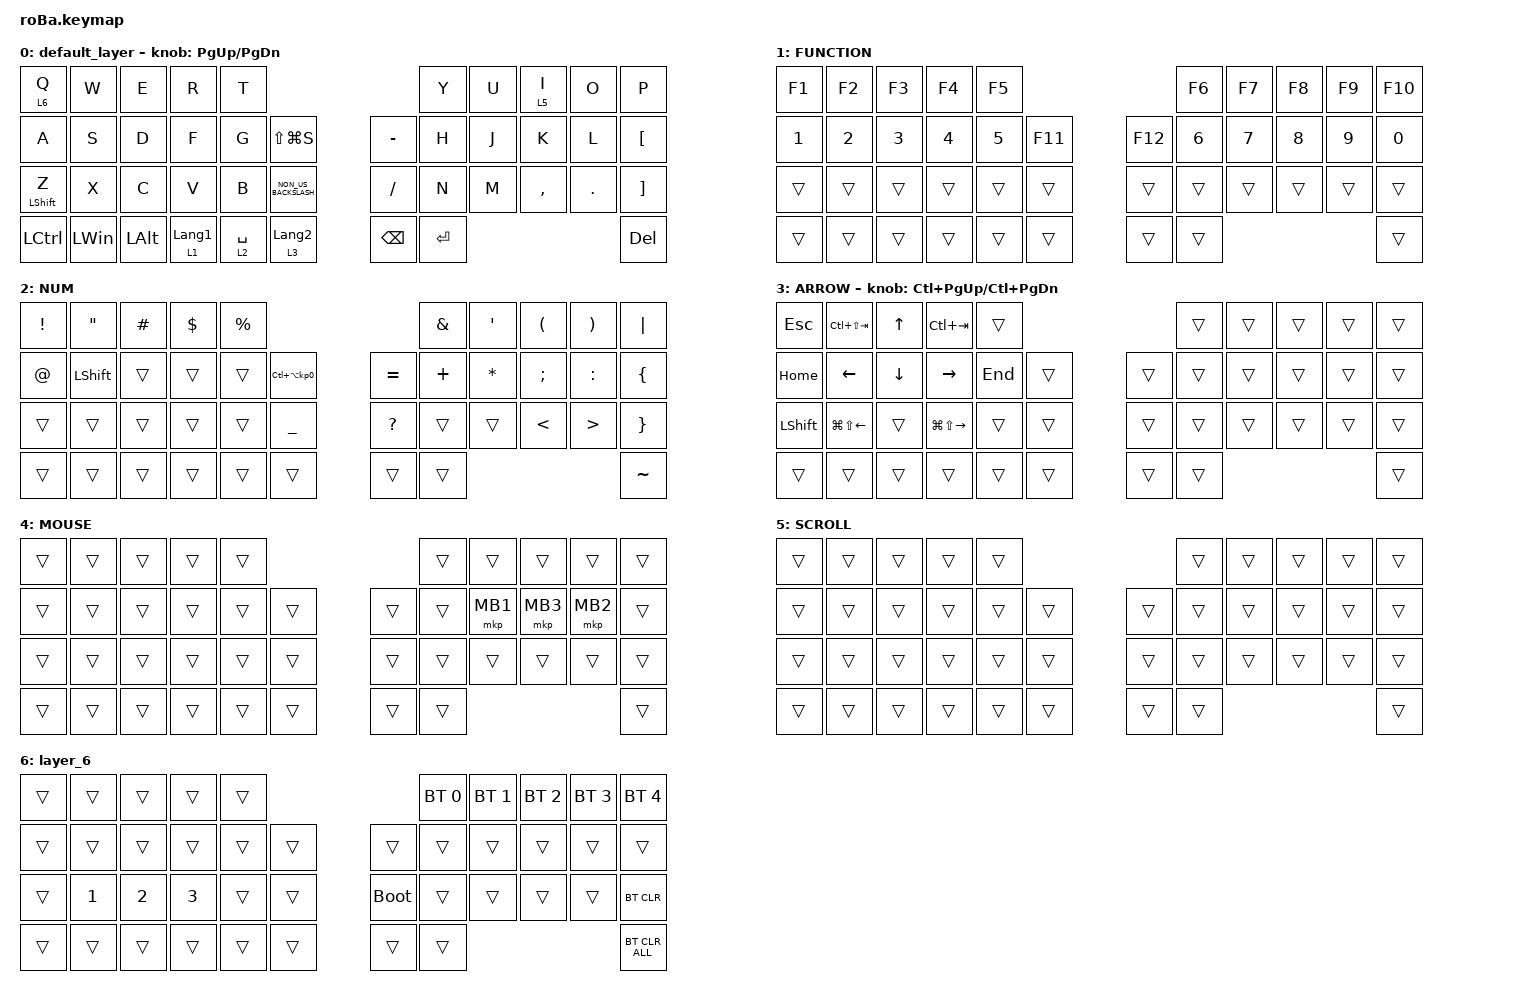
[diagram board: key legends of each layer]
#include <behaviors.dtsi>
#include <dt-bindings/zmk/bt.h>
#include <dt-bindings/zmk/keys.h>
#include <dt-bindings/zmk/pointing.h>

#define MOUSE 4
#define SCROLL 5
#define NUM 6

&mt {
    flavor = "balanced";
    quick-tap-ms = <0>;
};

/ {
    combos {
        compatible = "zmk,combos";

        tab {
            bindings = <&kp TAB>;
            key-positions = <11 12>;
        };

        shift_tab {
            bindings = <&kp LS(TAB)>;
            key-positions = <12 13>;
        };

        muhennkann {
            bindings = <&to_layer_0 INT_MUHENKAN>;
            key-positions = <11 10>;
        };

        double_quotation {
            bindings = <&kp DOUBLE_QUOTES>;
            key-positions = <20 21>;
        };

        eq {
            bindings = <&kp EQUAL>;
            key-positions = <24 25>;
        };
    };

    macros {
        to_layer_0: to_layer_0 {
            compatible = "zmk,behavior-macro-one-param";
            #binding-cells = <1>;
            bindings = <&to 0 &macro_param_1to1 &kp MACRO_PLACEHOLDER>;
            label = "TO_LAYER_0";
        };
    };

    behaviors {
        lt_to_layer_0: lt_to_layer_0 {
            compatible = "zmk,behavior-hold-tap";
            label = "LAYER_TAP_TO_0";
            bindings = <&mo>, <&to_layer_0>;

            #binding-cells = <2>;
            tapping-term-ms = <200>;
        };
    };

    keymap {
        compatible = "zmk,keymap";

        default_layer {
            bindings = <
&lt_to_layer_0 6 Q  &kp W         &kp E         &kp R                        &kp T                                                        &kp Y      &kp U  &lt 5 I    &kp O    &kp P
&kp A               &kp S         &kp D         &kp F                        &kp G        &kp LS(LG(S))                    &kp MINUS      &kp H      &kp J  &kp K      &kp L    &kp LEFT_BRACKET
&mt LEFT_SHIFT Z    &kp X         &kp C         &kp V                        &kp B        &kp NON_US_BACKSLASH             &kp SLASH      &kp N      &kp M  &kp COMMA  &kp DOT  &kp RIGHT_BRACKET
&kp LCTRL           &kp LEFT_WIN  &kp LEFT_ALT  &lt_to_layer_0 1 LANGUAGE_1  &lt 2 SPACE  &lt_to_layer_0 3 LANGUAGE_2      &kp BACKSPACE  &kp ENTER                             &kp DEL
            >;

            sensor-bindings = <&inc_dec_kp PG_UP PAGE_DOWN>;
        };

        FUNCTION {
            bindings = <
&kp F1        &kp F2        &kp F3        &kp F4        &kp F5                        &kp F6        &kp F7  &kp F8  &kp F9  &kp F10
&kp NUMBER_1  &kp NUMBER_2  &kp NUMBER_3  &kp NUMBER_4  &kp N5  &kp F11      &kp F12  &kp NUMBER_6  &kp N7  &kp N8  &kp N9  &kp N0
&trans        &trans        &trans        &trans        &trans  &trans       &trans   &trans        &trans  &trans  &trans  &trans
&trans        &trans        &trans        &trans        &trans  &trans       &trans   &trans                                &trans
            >;
        };

        NUM {
            bindings = <
&kp EXCLAMATION  &kp DOUBLE_QUOTES  &kp HASH  &kp DOLLAR  &kp PERCENT                                             &kp AMPERSAND  &kp SQT       &kp LEFT_PARENTHESIS  &kp RIGHT_PARENTHESIS  &kp PIPE
&kp AT_SIGN      &kp LEFT_SHIFT     &trans    &trans      &trans       &kp LC(LA(KP_NUMBER_0))      &kp EQUAL     &kp PLUS       &kp ASTERISK  &kp SEMICOLON         &kp COLON              &kp LEFT_BRACE
&trans           &trans             &trans    &trans      &trans       &kp UNDERSCORE               &kp QUESTION  &trans         &trans        &kp LESS_THAN         &kp GREATER_THAN       &kp RIGHT_BRACE
&trans           &trans             &trans    &trans      &trans       &trans                       &trans        &trans                                                                    &kp TILDE
            >;
        };

        ARROW {
            bindings = <
&kp ESCAPE      &kp LC(LS(TAB))         &kp UP_ARROW    &kp LC(TAB)              &trans                       &trans  &trans  &trans  &trans  &trans
&kp HOME        &kp LEFT_ARROW          &kp DOWN_ARROW  &kp RIGHT_ARROW          &kp END  &trans      &trans  &trans  &trans  &trans  &trans  &trans
&kp LEFT_SHIFT  &kp LG(LS(LEFT_ARROW))  &trans          &kp LG(LS(RIGHT_ARROW))  &trans   &trans      &trans  &trans  &trans  &trans  &trans  &trans
&trans          &trans                  &trans          &trans                   &trans   &trans      &trans  &trans                          &trans
            >;

            sensor-bindings = <&inc_dec_kp LC(PAGE_UP) LC(PAGE_DOWN)>;
        };

        MOUSE {
            bindings = <
&trans  &trans  &trans  &trans  &trans                      &trans  &trans    &trans    &trans    &trans
&trans  &trans  &trans  &trans  &trans  &trans      &trans  &trans  &mkp MB1  &mkp MB3  &mkp MB2  &trans
&trans  &trans  &trans  &trans  &trans  &trans      &trans  &trans  &trans    &trans    &trans    &trans
&trans  &trans  &trans  &trans  &trans  &trans      &trans  &trans                                &trans
            >;
        };

        SCROLL {
            bindings = <
&trans  &trans  &trans  &trans  &trans                      &trans  &trans  &trans  &trans  &trans
&trans  &trans  &trans  &trans  &trans  &trans      &trans  &trans  &trans  &trans  &trans  &trans
&trans  &trans  &trans  &trans  &trans  &trans      &trans  &trans  &trans  &trans  &trans  &trans
&trans  &trans  &trans  &trans  &trans  &trans      &trans  &trans                          &trans
            >;
        };

        layer_6 {
            bindings = <
&trans  &trans        &trans        &trans        &trans                           &bt BT_SEL 0  &bt BT_SEL 1  &bt BT_SEL 2  &bt BT_SEL 3  &bt BT_SEL 4
&trans  &trans        &trans        &trans        &trans  &trans      &trans       &trans        &trans        &trans        &trans        &trans
&trans  &kp NUMBER_1  &kp NUMBER_2  &kp NUMBER_3  &trans  &trans      &bootloader  &trans        &trans        &trans        &trans        &bt BT_CLR
&trans  &trans        &trans        &trans        &trans  &trans      &trans       &trans                                                  &bt BT_CLR_ALL
            >;
        };
    };
};
